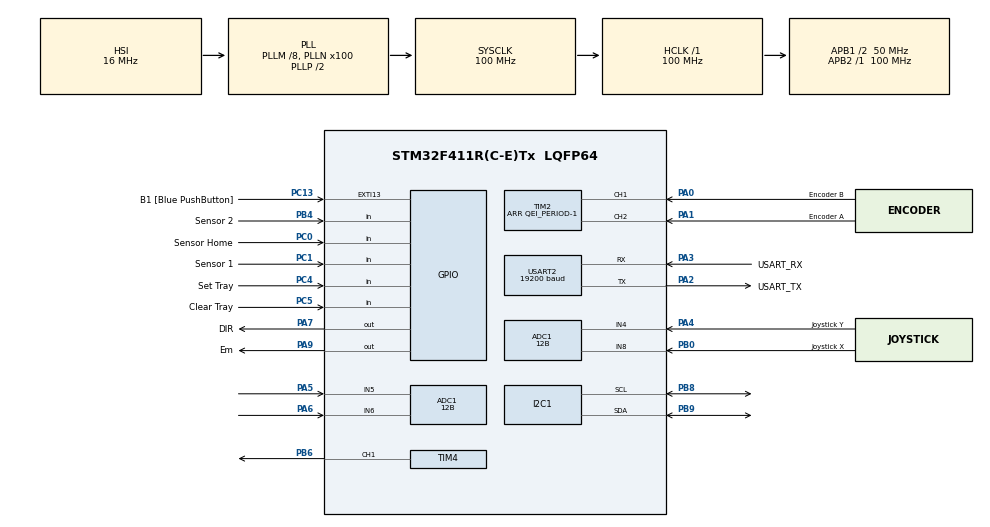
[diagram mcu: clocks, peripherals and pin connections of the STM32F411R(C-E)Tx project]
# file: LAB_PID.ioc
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ADC1.Channel-3\#ChannelRegularConversion=ADC_CHANNEL_8
ADC1.Channel-4\#ChannelRegularConversion=ADC_CHANNEL_4
ADC1.Channel-5\#ChannelRegularConversion=ADC_CHANNEL_6
ADC1.Channel-6\#ChannelRegularConversion=ADC_CHANNEL_5
ADC1.ClockPrescaler=ADC_CLOCK_SYNC_PCLK_DIV4
ADC1.ContinuousConvMode=ENABLE
ADC1.DMAContinuousRequests=ENABLE
ADC1.EOCSelection=ADC_EOC_SEQ_CONV
ADC1.NbrOfConversion=4
ADC1.NbrOfConversionFlag=1
ADC1.Rank-3\#ChannelRegularConversion=1
ADC1.Rank-4\#ChannelRegularConversion=2
ADC1.Rank-5\#ChannelRegularConversion=3
ADC1.Rank-6\#ChannelRegularConversion=4
ADC1.Resolution=ADC_RESOLUTION_12B
ADC1.SamplingTime-3\#ChannelRegularConversion=ADC_SAMPLETIME_56CYCLES
ADC1.SamplingTime-4\#ChannelRegularConversion=ADC_SAMPLETIME_56CYCLES
ADC1.SamplingTime-5\#ChannelRegularConversion=ADC_SAMPLETIME_56CYCLES
ADC1.SamplingTime-6\#ChannelRegularConversion=ADC_SAMPLETIME_56CYCLES
ADC1.master=1
ARM.CMSIS.5.6.0.CMSISJjCORE=true
ARM.CMSIS.5.6.0.CMSISJjDSP=Library
Dma.ADC1.0.Direction=DMA_PERIPH_TO_MEMORY
Dma.ADC1.0.FIFOMode=DMA_FIFOMODE_DISABLE
Dma.ADC1.0.Instance=DMA2_Stream0
Dma.ADC1.0.MemDataAlignment=DMA_MDATAALIGN_WORD
Dma.ADC1.0.MemInc=DMA_MINC_ENABLE
Dma.ADC1.0.Mode=DMA_CIRCULAR
Dma.ADC1.0.PeriphDataAlignment=DMA_PDATAALIGN_WORD
Dma.ADC1.0.PeriphInc=DMA_PINC_DISABLE
Dma.ADC1.0.Priority=DMA_PRIORITY_LOW
Dma.Request0=ADC1
Dma.Request1=USART2_TX
Dma.USART2_TX.1.Direction=DMA_MEMORY_TO_PERIPH
Dma.USART2_TX.1.FIFOMode=DMA_FIFOMODE_DISABLE
Dma.USART2_TX.1.Instance=DMA1_Stream6
Dma.USART2_TX.1.MemDataAlignment=DMA_MDATAALIGN_BYTE
Dma.USART2_TX.1.MemInc=DMA_MINC_ENABLE
Dma.USART2_TX.1.Mode=DMA_NORMAL
Dma.USART2_TX.1.PeriphDataAlignment=DMA_PDATAALIGN_BYTE
Dma.USART2_TX.1.PeriphInc=DMA_PINC_DISABLE
Dma.USART2_TX.1.Priority=DMA_PRIORITY_LOW
Mcu.Family=STM32F4
Mcu.Name=STM32F411R(C-E)Tx
Mcu.Package=LQFP64
Mcu.UserConstants=QEI_PERIOD,40960
NVIC.DMA1_Stream6_IRQn=true\:0\:0\:false\:false\:true\:false\:true\:true
NVIC.DMA2_Stream0_IRQn=true\:0\:0\:false\:false\:true\:false\:true\:true
NVIC.EXTI15_10_IRQn=true\:0\:0\:false\:false\:true\:true\:true\:true
NVIC.PriorityGroup=NVIC_PRIORITYGROUP_0
NVIC.TIM1_TRG_COM_TIM11_IRQn=true\:0\:0\:false\:false\:true\:true\:true\:true
NVIC.TIM3_IRQn=true\:0\:0\:false\:false\:true\:true\:true\:true
NVIC.TIM4_IRQn=true\:0\:0\:false\:false\:true\:true\:true\:true
NVIC.USART2_IRQn=true\:0\:0\:false\:false\:true\:true\:true\:true
PA0-WKUP.GPIO_Label=Encoder B
PA0-WKUP.Signal=S_TIM2_CH1_ETR
PA1.GPIO_Label=Encoder A
PA1.Signal=S_TIM2_CH2
PA13.GPIO_Label=TMS
PA13.Mode=Trace_Asynchronous_SW
PA13.Signal=SYS_JTMS-SWDIO
PA14.GPIO_Label=TCK
PA14.Mode=Trace_Asynchronous_SW
PA14.Signal=SYS_JTCK-SWCLK
PA2.GPIO_Label=USART_TX
PA2.Mode=Asynchronous
PA2.Signal=USART2_TX
PA3.GPIO_Label=USART_RX
PA3.Mode=Asynchronous
PA3.Signal=USART2_RX
PA4.GPIO_Label=Joystick Y
PA4.Signal=ADCx_IN4
PA5.Signal=ADCx_IN5
PA6.Signal=ADCx_IN6
PA7.GPIO_Label=DIR
PA7.Signal=GPIO_Output
PA9.GPIO_Label=Em
PA9.Signal=GPIO_Output
PB0.GPIO_Label=Joystick X
PB0.Signal=ADCx_IN8
PB3.GPIO_Label=SWO
PB3.Mode=Trace_Asynchronous_SW
PB3.Signal=SYS_JTDO-SWO
PB4.GPIO_Label=Sensor 2
PB4.Signal=GPIO_Input
PB6.Signal=S_TIM4_CH1
PB8.Mode=I2C
PB8.Signal=I2C1_SCL
PB9.Mode=I2C
PB9.Signal=I2C1_SDA
PC0.GPIO_Label=Sensor Home
PC0.Signal=GPIO_Input
PC1.GPIO_Label=Sensor 1
PC1.Signal=GPIO_Input
PC13-ANTI_TAMP.GPIO_Label=B1 [Blue PushButton]
PC13-ANTI_TAMP.GPIO_ModeDefaultEXTI=GPIO_MODE_IT_FALLING
PC13-ANTI_TAMP.Signal=GPXTI13
PC14-OSC32_IN.Mode=LSE-External-Oscillator
PC14-OSC32_IN.Signal=RCC_OSC32_IN
PC15-OSC32_OUT.Mode=LSE-External-Oscillator
PC15-OSC32_OUT.Signal=RCC_OSC32_OUT
PC4.GPIO_Label=Set Tray
PC4.Signal=GPIO_Input
PC5.GPIO_Label=Clear Tray
PC5.Signal=GPIO_Input
PH0\ -\ OSC_IN.Mode=HSE-External-Clock-Source
PH0\ -\ OSC_IN.Signal=RCC_OSC_IN
PH1\ -\ OSC_OUT.Mode=HSE-External-Clock-Source
PH1\ -\ OSC_OUT.Signal=RCC_OSC_OUT
ProjectManager.HeapSize=0x200
ProjectManager.StackSize=0x400
ProjectManager.TargetToolchain=STM32CubeIDE
RCC.48MHZClocksFreq_Value=50000000
RCC.AHBFreq_Value=100000000
RCC.APB1CLKDivider=RCC_HCLK_DIV2
RCC.APB1Freq_Value=50000000
RCC.APB1TimFreq_Value=100000000
RCC.APB2Freq_Value=100000000
RCC.APB2TimFreq_Value=100000000
RCC.CortexFreq_Value=100000000
RCC.FLatency-AdvancedSettings=FLASH_LATENCY_3
RCC.HCLKFreq_Value=100000000
RCC.HSE_VALUE=8000000
RCC.HSI_VALUE=16000000
RCC.PLLM=8
RCC.PLLN=100
RCC.SYSCLKFreq_VALUE=100000000
RCC.SYSCLKSource=RCC_SYSCLKSOURCE_PLLCLK
RCC.VCOOutputFreq_Value=200000000
SH.ADCx_IN4.0=ADC1_IN4,IN4
SH.ADCx_IN5.0=ADC1_IN5,IN5
SH.ADCx_IN6.0=ADC1_IN6,IN6
SH.ADCx_IN8.0=ADC1_IN8,IN8
SH.S_TIM2_CH1_ETR.0=TIM2_CH1,Encoder_Interface
SH.S_TIM2_CH2.0=TIM2_CH2,Encoder_Interface
SH.S_TIM4_CH1.0=TIM4_CH1,PWM Generation1 CH1
TIM11.Channel=TIM_CHANNEL_1
TIM11.OCMode_1=TIM_OCMODE_ACTIVE
TIM11.Period=2005
TIM11.Prescaler=99
TIM11.Pulse=1433
TIM2.EncoderMode=TIM_ENCODERMODE_TI12
TIM2.IC1Filter=0
TIM2.IC2Filter=0
TIM2.Period=QEI_PERIOD-1
TIM4.Channel-PWM\ Generation1\ CH1=TIM_CHANNEL_1
TIM4.Period=65535
TIM4.Prescaler=0
TIM5.Prescaler=83
USART2.BaudRate=19200
USART2.Parity=PARITY_EVEN
USART2.VirtualMode=VM_ASYNC
USART2.WordLength=WORDLENGTH_9B
VP_ARM.CMSIS_VS_CMSISJjCORE_5.3.0_5.6.0.Mode=CMSISJjCORE
VP_ARM.CMSIS_VS_CMSISJjDSP_1.7.0_5.6.0.Mode=CMSISJjDSP
VP_TIM11_VS_ClockSourceINT.Mode=Enable_Timer
VP_TIM11_VS_OPM.Mode=OPM_bit
VP_TIM11_VS_no_output1.Mode=Output Compare1 No Output
VP_TIM3_VS_ClockSourceINT.Mode=Internal
VP_TIM4_VS_ClockSourceINT.Mode=Internal
VP_TIM5_VS_ClockSourceINT.Mode=Internal
board=NUCLEO-F411RE

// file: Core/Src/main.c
/* USER CODE BEGIN Header */
/**
 ******************************************************************************
 * @file           : main.c
 * @brief          : Main program body
 ******************************************************************************
 * @attention
 *
 * Copyright (c) 2023 STMicroelectronics.
 * All rights reserved.
 *
 * This software is licensed under terms that can be found in the LICENSE file
 * in the root directory of this software component.
 * If no LICENSE file comes with this software, it is provided AS-IS.
 *
 ******************************************************************************
 */
/* USER CODE END Header */
#include "main.h"

/* USER CODE BEGIN Includes */
#include "math.h"
#include "ModBusRTU.h"
#include "arm_math.h"
#include "main.h"
#include "Qubic.h"
#include "Qubic_emxAPI.h"
#include "Qubic_terminate.h"
#include "Qubic_types.h"
#include "rt_nonfinite.h"

//Chayapol 6411
/* USER CODE END Includes */

/* USER CODE BEGIN PTD */
uint64_t micros();
void flowmodbus();
void velocity();
static double argInit_real_T(void);

/* Function Definitions */
/*
 * Arguments    : void
 * Return Type  : double
 */
static double argInit_real_T(void) {
	return 0.0;
}
/* USER CODE END PTD */

ADC_HandleTypeDef hadc1;
DMA_HandleTypeDef hdma_adc1;

I2C_HandleTypeDef hi2c1;

TIM_HandleTypeDef htim2;
TIM_HandleTypeDef htim3;
TIM_HandleTypeDef htim4;
TIM_HandleTypeDef htim5;
TIM_HandleTypeDef htim11;

UART_HandleTypeDef huart2;
DMA_HandleTypeDef hdma_usart2_tx;

/* USER CODE BEGIN PV */
//I2C
int LOL;
int laser_flag,laser_on_off,laser_power;
int Em_state;
int score;
int homeflag = 0;
float posy_point;
uint64_t timestampI2Cdone;
int set_home = 0;
int I2Cdone;
int done;
int CaseTray = 0;
uint64_t abc = 0;
int plustray = -1;
int gentest = 0;
int choice;
uint8_t data_read;
uint8_t starttray;
GPIO_PinState lastButtonState;
GPIO_PinState buttonState;
float start_p, stop_p, start_v, stop_v, timecycle;
int posx;
int orenationtray = 0;
float point_x[18] = {100,-100,100,-100,100,-100,100,-100,100,-100,100,-100,100,-100,100,-100,100,-100,};
float point_y[18] = { 100, -110, 190, -100, 210, -80, 170, -120, 180, -110, 200,
		-90, 160, -130, 170, -120, 190, -100};
float rectangle[5][2] = { { 0, 0 }, { 60, 0 }, { 60, 50 }, { 0, 50 }, { 0, 0 } };

// Define the rotation matrix
float T_rotation[2][2];

// Declare and initialize the translation array
float translation[2];

float T[3][3];
float points[9][2] = { { 10, 40 }, { 30, 40 }, { 50, 40 }, { 10, 25 },
		{ 30, 25 }, { 50, 25 }, { 10, 10 }, { 30, 10 }, { 50, 10 } };

float homogeneousRectangle[5][3];
float transformedRectangle[5][3];
// Transform the points
float homogeneousPoints[9][3];
float transformedPoints[9][3];

//find theta
float dot_product;
float vectorsize = 3600.0;
float theta;
float in_theta;

float bottom_left_jog[2];
float bottom_right_jog[2];

float rectangle2[5][2] =
		{ { 0, 0 }, { 60, 0 }, { 60, 50 }, { 0, 50 }, { 0, 0 } };

// Define the rotation matrix
float T_rotation2[2][2];

double q_k1_tmp;
// Declare and initialize the translation array
float translation2[2];

float T2[3][3];
float points2[9][2] = { { 10, 40 }, { 30, 40 }, { 50, 40 }, { 10, 25 },
		{ 30, 25 }, { 50, 25 }, { 10, 10 }, { 30, 10 }, { 50, 10 } };

float homogeneousRectangle2[5][3];
float transformedRectangle2[5][3];
// Transform the points
float homogeneousPoints2[9][3];
float transformedPoints2[9][3];

//find theta
float dot_product2;
float vectorsize2 = 3600.0;
float theta2;
float in_theta2;

float bottom_left_jog2[2];
float bottom_right_jog2[2];
//Modbus Protocol
typedef enum {
	Initial, Jogging_Place, Jogging_Pick, Home, Run_PointMode, Run_TrayMode ,EM_Run_PointMode,EM_Run_TrayMode
} state;
state Mobus = 0;
ModbusHandleTypedef hmodbus;
u16u8_t registerFrame[70];
int x_done, y_done;

int SoftReset = 0;
float speed;
float acceleration;
uint32_T path = 0;
uint32_t QEIReadRaw;
uint32_t Button1 = 0;
float positionTraject;
float velocityTraject;

//Jogging
uint32_t Joystick_AND_Sensor[4];
uint32_t Joystick_Control = 1;
uint8_t CheckTray;
int JoystickSpeed = 16383;

typedef struct _QEIStructure {
	uint32_t data[2]; //Position data container
	uint32_t timestamp[2];
	float QEIPosition; //step
	float QEIVelocity;
//step/sec
} QEIStructureTypedef;
QEIStructureTypedef QEIData = { 0 };
QEIStructureTypedef QEIAcc = { 0 };

uint64_t _micros = 0;

emxArray_real_T *q_velocityN;
emxArray_real_T *q_positionN;
emxArray_real_T *q_accN;
int indexposition = 0;
float timestep = 0;

// PID variable

float pu1 = 0;
float pe1 = 0;
float pe2 = 0;
float u;
float p = 0;
float s = 0;
float u2;
float p2 = 0;
float s2 = 0;
float error2 = 0;
float delta_u;
float K_P = 0; //1
float K_I = 0.0500000007; // 0.1
float K_D = 0; //0
float K_Pvelo = 250; // 200
float K_Ivelo = 0.100000001; // 0.5
float K_Dvelo = 0; // 0

float SetVelocity = 500;
float ReadDegree; // Encoder value
float SetDegree; // Set point
float DegreeFeedback; // Feedback position
float error; // error

int testgo = 0;
uint64_t timeI2C = 0;
uint64_t timestamp = 0;
uint64_t timemodbus = 0;
uint64_t timestampTrajact = 0;
uint64_t timestamptray = 2000;
/* USER CODE END PV */

void SystemClock_Config(void);
static void MX_GPIO_Init(void);
static void MX_DMA_Init(void);
static void MX_USART2_UART_Init(void);
static void MX_TIM2_Init(void);
static void MX_TIM5_Init(void);
static void MX_ADC1_Init(void);
static void MX_I2C1_Init(void);
static void MX_TIM11_Init(void);
static void MX_TIM4_Init(void);
static void MX_TIM3_Init(void);
/* USER CODE BEGIN PFP */
void I2C_all();
void I2C_read_status();
void transformRectangleAndPointsPlace();
void transformRectangleAndPointsPick();
float control_interrupt();
float control_velocity();
void accelerate();
void main_Qubic();
void home_yaxis();
/* USER CODE END PFP */

int main(void)
{

  /* MCU Configuration--------------------------------------------------------*/

  /* Reset of all peripherals, Initializes the Flash interface and the Systick. */
  HAL_Init();

  /* Configure the system clock */
  SystemClock_Config();

  /* Initialize all configured peripherals */
  MX_GPIO_Init();
  MX_DMA_Init();
  MX_USART2_UART_Init();
  MX_TIM2_Init();
  MX_TIM5_Init();
  MX_ADC1_Init();
  MX_I2C1_Init();
  MX_TIM11_Init();
  MX_TIM4_Init();
  MX_TIM3_Init();
  /* USER CODE BEGIN 2 */
	start_p = 0;
	stop_p = 15;
	start_v = 0;
	stop_v = 0;
	timecycle = 2;
	transformRectangleAndPointsPlace();
	HAL_ADC_Start_DMA(&hadc1, Joystick_AND_Sensor, 4);
	HAL_TIM_Encoder_Start(&htim2, TIM_CHANNEL_1 | TIM_CHANNEL_2);
	HAL_TIM_PWM_Start(&htim4, TIM_CHANNEL_1);
	HAL_TIM_Base_Start(&htim5);
	hmodbus.huart = &huart2;
	hmodbus.htim = &htim11;
	hmodbus.slaveAddress = 0x15;
	hmodbus.RegisterSize = 70;
	Modbus_init(&hmodbus, registerFrame);

  /* USER CODE END 2 */

  /* Infinite loop */
	while (1) {

    /* USER CODE BEGIN 3 */
		if (starttray == 1) {
			starttray = 0;
			transformRectangleAndPointsPlace();
		}
		Modbus_Protocal_Worker();
		flowmodbus();
		limitsensor();

		if (SoftReset == 1) {
			NVIC_SystemReset();
			SoftReset = 0;
		}
//		static uint32_t timestamp_I2C = 0;
//		      if(HAL_GetTick() >= timestamp_I2C){
//		          I2C_all(&data_read);
//		          timestamp_I2C = HAL_GetTick()+ 20;
//		      }

		if (HAL_GetTick() >= timemodbus) { // heartbeat
			timemodbus = HAL_GetTick() + 0.5;
			registerFrame[0].U16 = 22881;
			registerFrame[17].U16 = (int) (ReadDegree - 350) * 10;
			registerFrame[18].U16 = abs(speed);
			registerFrame[19].U16 = acceleration;
		}
		if (HAL_GetTick() >= timestampTrajact) {
			timestampTrajact = HAL_GetTick() + 10;
			if (indexposition < (timecycle * 100) && path == 1) {
				positionTraject = q_positionN->data[indexposition];
				velocityTraject = q_velocityN->data[indexposition];
				SetDegree = positionTraject;
				SetVelocity = velocityTraject;
				indexposition += 1;
			}
		}
		if(testgo == 1)
		{
			Mobus = Run_TrayMode;
			testgo = 0;
		}
		if (HAL_GetTick() >= timestamp) {
			timestamp = HAL_GetTick() + 5;
			//abc++;
			QEIReadRaw = __HAL_TIM_GET_COUNTER(&htim2); // Read QEI
			ReadDegree = (QEIReadRaw / 8192.0 * 360.0) * 160.0 / 360.0; // pulse to degree
			error = SetDegree - ReadDegree;
			velocity();
			accelerate();
			speed = ((QEIData.QEIVelocity / 8192.0) * 360.0) * 160 / 360;
			acceleration = QEIAcc.QEIVelocity;
			DegreeFeedback = control_interrupt(); // PID function

			if (velocityTraject == 0) {
				s2 = 0;
			}
			if (Joystick_Control == 1) {
				DegreeFeedback = 0;
				s = 0;
				s2 = 0;
				error = 0;
				error2 = 0;
				if (Joystick_AND_Sensor[0] >= 3150) {
					__HAL_TIM_SET_COMPARE(&htim4, TIM_CHANNEL_1, 16383); // 20 %
					HAL_GPIO_WritePin(GPIOA, GPIO_PIN_7, GPIO_PIN_SET);
				} else if (Joystick_AND_Sensor[0] <= 100) {
					__HAL_TIM_SET_COMPARE(&htim4, TIM_CHANNEL_1, 16383); // 20 %
					HAL_GPIO_WritePin(GPIOA, GPIO_PIN_7, GPIO_PIN_RESET);
				} else {
					__HAL_TIM_SET_COMPARE(&htim4, TIM_CHANNEL_1, 0);
					HAL_GPIO_WritePin(GPIOA, GPIO_PIN_7, GPIO_PIN_RESET);
				}
			} else if (Joystick_Control == 0) {
				if (SetDegree < 0) {
					SetDegree = 0; // minimum value
				}
				if (SetDegree > 700) {
					SetDegree = 700; // maximum value
				}

				if (error > 0) { // setpoint > read_encoder

					if (error < 0.2) {
						DegreeFeedback = 0; // Limit Position
						s = 0;
					}
					__HAL_TIM_SET_COMPARE(&htim4, TIM_CHANNEL_1, DegreeFeedback);
					HAL_GPIO_WritePin(GPIOA, GPIO_PIN_7, GPIO_PIN_RESET);
				}
				if (error < 0) { // setpoint < read_encoder
					if (error * -1 < 0.2) {
						DegreeFeedback = 0; // Limit Position
						s = 0;
					}
					__HAL_TIM_SET_COMPARE(&htim4, TIM_CHANNEL_1, DegreeFeedback * -1);
					HAL_GPIO_WritePin(GPIOA, GPIO_PIN_7, GPIO_PIN_SET);
				}
			}
		}
	}
  /* USER CODE END 3 */
}

void SystemClock_Config(void)
{
  RCC_OscInitTypeDef RCC_OscInitStruct = {0};
  RCC_ClkInitTypeDef RCC_ClkInitStruct = {0};

  /** Configure the main internal regulator output voltage
  */
  __HAL_RCC_PWR_CLK_ENABLE();
  __HAL_PWR_VOLTAGESCALING_CONFIG(PWR_REGULATOR_VOLTAGE_SCALE1);

  /** Initializes the RCC Oscillators according to the specified parameters
  * in the RCC_OscInitTypeDef structure.
  */
  RCC_OscInitStruct.OscillatorType = RCC_OSCILLATORTYPE_HSI;
  RCC_OscInitStruct.HSIState = RCC_HSI_ON;
  RCC_OscInitStruct.HSICalibrationValue = RCC_HSICALIBRATION_DEFAULT;
  RCC_OscInitStruct.PLL.PLLState = RCC_PLL_ON;
  RCC_OscInitStruct.PLL.PLLSource = RCC_PLLSOURCE_HSI;
  RCC_OscInitStruct.PLL.PLLM = 8;
  RCC_OscInitStruct.PLL.PLLN = 100;
  RCC_OscInitStruct.PLL.PLLP = RCC_PLLP_DIV2;
  RCC_OscInitStruct.PLL.PLLQ = 4;
  if (HAL_RCC_OscConfig(&RCC_OscInitStruct) != HAL_OK)
  {
    Error_Handler();
  }

  /** Initializes the CPU, AHB and APB buses clocks
  */
  RCC_ClkInitStruct.ClockType = RCC_CLOCKTYPE_HCLK|RCC_CLOCKTYPE_SYSCLK
                              |RCC_CLOCKTYPE_PCLK1|RCC_CLOCKTYPE_PCLK2;
  RCC_ClkInitStruct.SYSCLKSource = RCC_SYSCLKSOURCE_PLLCLK;
  RCC_ClkInitStruct.AHBCLKDivider = RCC_SYSCLK_DIV1;
  RCC_ClkInitStruct.APB1CLKDivider = RCC_HCLK_DIV2;
  RCC_ClkInitStruct.APB2CLKDivider = RCC_HCLK_DIV1;

  if (HAL_RCC_ClockConfig(&RCC_ClkInitStruct, FLASH_LATENCY_3) != HAL_OK)
  {
    Error_Handler();
  }
}

static void MX_ADC1_Init(void)
{

  ADC_ChannelConfTypeDef sConfig = {0};

  /** Configure the global features of the ADC (Clock, Resolution, Data Alignment and number of conversion)
  */
  hadc1.Instance = ADC1;
  hadc1.Init.ClockPrescaler = ADC_CLOCK_SYNC_PCLK_DIV4;
  hadc1.Init.Resolution = ADC_RESOLUTION_12B;
  hadc1.Init.ScanConvMode = ENABLE;
  hadc1.Init.ContinuousConvMode = ENABLE;
  hadc1.Init.DiscontinuousConvMode = DISABLE;
  hadc1.Init.ExternalTrigConvEdge = ADC_EXTERNALTRIGCONVEDGE_NONE;
  hadc1.Init.ExternalTrigConv = ADC_SOFTWARE_START;
  hadc1.Init.DataAlign = ADC_DATAALIGN_RIGHT;
  hadc1.Init.NbrOfConversion = 4;
  hadc1.Init.DMAContinuousRequests = ENABLE;
  hadc1.Init.EOCSelection = ADC_EOC_SEQ_CONV;
  if (HAL_ADC_Init(&hadc1) != HAL_OK)
  {
    Error_Handler();
  }

  /** Configure for the selected ADC regular channel its corresponding rank in the sequencer and its sample time.
  */
  sConfig.Channel = ADC_CHANNEL_8;
  sConfig.Rank = 1;
  sConfig.SamplingTime = ADC_SAMPLETIME_56CYCLES;
  if (HAL_ADC_ConfigChannel(&hadc1, &sConfig) != HAL_OK)
  {
    Error_Handler();
  }

  /** Configure for the selected ADC regular channel its corresponding rank in the sequencer and its sample time.
  */
  sConfig.Channel = ADC_CHANNEL_4;
  sConfig.Rank = 2;
  if (HAL_ADC_ConfigChannel(&hadc1, &sConfig) != HAL_OK)
  {
    Error_Handler();
  }

  /** Configure for the selected ADC regular channel its corresponding rank in the sequencer and its sample time.
  */
  sConfig.Channel = ADC_CHANNEL_6;
  sConfig.Rank = 3;
  if (HAL_ADC_ConfigChannel(&hadc1, &sConfig) != HAL_OK)
  {
    Error_Handler();
  }

  /** Configure for the selected ADC regular channel its corresponding rank in the sequencer and its sample time.
  */
  sConfig.Channel = ADC_CHANNEL_5;
  sConfig.Rank = 4;
  if (HAL_ADC_ConfigChannel(&hadc1, &sConfig) != HAL_OK)
  {
    Error_Handler();
  }

}

static void MX_I2C1_Init(void)
{

  hi2c1.Instance = I2C1;
  hi2c1.Init.ClockSpeed = 100000;
  hi2c1.Init.DutyCycle = I2C_DUTYCYCLE_2;
  hi2c1.Init.OwnAddress1 = 0;
  hi2c1.Init.AddressingMode = I2C_ADDRESSINGMODE_7BIT;
  hi2c1.Init.DualAddressMode = I2C_DUALADDRESS_DISABLE;
  hi2c1.Init.OwnAddress2 = 0;
  hi2c1.Init.GeneralCallMode = I2C_GENERALCALL_DISABLE;
  hi2c1.Init.NoStretchMode = I2C_NOSTRETCH_DISABLE;
  if (HAL_I2C_Init(&hi2c1) != HAL_OK)
  {
    Error_Handler();
  }

}

static void MX_TIM2_Init(void)
{

  TIM_Encoder_InitTypeDef sConfig = {0};
  TIM_MasterConfigTypeDef sMasterConfig = {0};

  htim2.Instance = TIM2;
  htim2.Init.Prescaler = 0;
  htim2.Init.CounterMode = TIM_COUNTERMODE_UP;
  htim2.Init.Period = QEI_PERIOD-1;
  htim2.Init.ClockDivision = TIM_CLOCKDIVISION_DIV1;
  htim2.Init.AutoReloadPreload = TIM_AUTORELOAD_PRELOAD_DISABLE;
  sConfig.EncoderMode = TIM_ENCODERMODE_TI12;
  sConfig.IC1Polarity = TIM_ICPOLARITY_RISING;
  sConfig.IC1Selection = TIM_ICSELECTION_DIRECTTI;
  sConfig.IC1Prescaler = TIM_ICPSC_DIV1;
  sConfig.IC1Filter = 0;
  sConfig.IC2Polarity = TIM_ICPOLARITY_RISING;
  sConfig.IC2Selection = TIM_ICSELECTION_DIRECTTI;
  sConfig.IC2Prescaler = TIM_ICPSC_DIV1;
  sConfig.IC2Filter = 0;
  if (HAL_TIM_Encoder_Init(&htim2, &sConfig) != HAL_OK)
  {
    Error_Handler();
  }
  sMasterConfig.MasterOutputTrigger = TIM_TRGO_RESET;
  sMasterConfig.MasterSlaveMode = TIM_MASTERSLAVEMODE_DISABLE;
  if (HAL_TIMEx_MasterConfigSynchronization(&htim2, &sMasterConfig) != HAL_OK)
  {
    Error_Handler();
  }

}

static void MX_TIM3_Init(void)
{

  TIM_ClockConfigTypeDef sClockSourceConfig = {0};
  TIM_MasterConfigTypeDef sMasterConfig = {0};

  htim3.Instance = TIM3;
  htim3.Init.Prescaler = 0;
  htim3.Init.CounterMode = TIM_COUNTERMODE_UP;
  htim3.Init.Period = 65535;
  htim3.Init.ClockDivision = TIM_CLOCKDIVISION_DIV1;
  htim3.Init.AutoReloadPreload = TIM_AUTORELOAD_PRELOAD_DISABLE;
  if (HAL_TIM_Base_Init(&htim3) != HAL_OK)
  {
    Error_Handler();
  }
  sClockSourceConfig.ClockSource = TIM_CLOCKSOURCE_INTERNAL;
  if (HAL_TIM_ConfigClockSource(&htim3, &sClockSourceConfig) != HAL_OK)
  {
    Error_Handler();
  }
  sMasterConfig.MasterOutputTrigger = TIM_TRGO_RESET;
  sMasterConfig.MasterSlaveMode = TIM_MASTERSLAVEMODE_DISABLE;
  if (HAL_TIMEx_MasterConfigSynchronization(&htim3, &sMasterConfig) != HAL_OK)
  {
    Error_Handler();
  }

}

static void MX_TIM4_Init(void)
{

  TIM_ClockConfigTypeDef sClockSourceConfig = {0};
  TIM_MasterConfigTypeDef sMasterConfig = {0};
  TIM_OC_InitTypeDef sConfigOC = {0};

  htim4.Instance = TIM4;
  htim4.Init.Prescaler = 0;
  htim4.Init.CounterMode = TIM_COUNTERMODE_UP;
  htim4.Init.Period = 65535;
  htim4.Init.ClockDivision = TIM_CLOCKDIVISION_DIV1;
  htim4.Init.AutoReloadPreload = TIM_AUTORELOAD_PRELOAD_DISABLE;
  if (HAL_TIM_Base_Init(&htim4) != HAL_OK)
  {
    Error_Handler();
  }
  sClockSourceConfig.ClockSource = TIM_CLOCKSOURCE_INTERNAL;
  if (HAL_TIM_ConfigClockSource(&htim4, &sClockSourceConfig) != HAL_OK)
  {
    Error_Handler();
  }
  if (HAL_TIM_PWM_Init(&htim4) != HAL_OK)
  {
    Error_Handler();
  }
  sMasterConfig.MasterOutputTrigger = TIM_TRGO_RESET;
  sMasterConfig.MasterSlaveMode = TIM_MASTERSLAVEMODE_DISABLE;
  if (HAL_TIMEx_MasterConfigSynchronization(&htim4, &sMasterConfig) != HAL_OK)
  {
    Error_Handler();
  }
  sConfigOC.OCMode = TIM_OCMODE_PWM1;
  sConfigOC.Pulse = 0;
  sConfigOC.OCPolarity = TIM_OCPOLARITY_HIGH;
  sConfigOC.OCFastMode = TIM_OCFAST_DISABLE;
  if (HAL_TIM_PWM_ConfigChannel(&htim4, &sConfigOC, TIM_CHANNEL_1) != HAL_OK)
  {
    Error_Handler();
  }
  HAL_TIM_MspPostInit(&htim4);

}

static void MX_TIM5_Init(void)
{

  TIM_ClockConfigTypeDef sClockSourceConfig = {0};
  TIM_MasterConfigTypeDef sMasterConfig = {0};

  htim5.Instance = TIM5;
  htim5.Init.Prescaler = 83;
  htim5.Init.CounterMode = TIM_COUNTERMODE_UP;
  htim5.Init.Period = 4294967295;
  htim5.Init.ClockDivision = TIM_CLOCKDIVISION_DIV1;
  htim5.Init.AutoReloadPreload = TIM_AUTORELOAD_PRELOAD_DISABLE;
  if (HAL_TIM_Base_Init(&htim5) != HAL_OK)
  {
    Error_Handler();
  }
  sClockSourceConfig.ClockSource = TIM_CLOCKSOURCE_INTERNAL;
  if (HAL_TIM_ConfigClockSource(&htim5, &sClockSourceConfig) != HAL_OK)
  {
    Error_Handler();
  }
  sMasterConfig.MasterOutputTrigger = TIM_TRGO_RESET;
  sMasterConfig.MasterSlaveMode = TIM_MASTERSLAVEMODE_DISABLE;
  if (HAL_TIMEx_MasterConfigSynchronization(&htim5, &sMasterConfig) != HAL_OK)
  {
    Error_Handler();
  }

}

static void MX_TIM11_Init(void)
{

  TIM_OC_InitTypeDef sConfigOC = {0};

  htim11.Instance = TIM11;
  htim11.Init.Prescaler = 99;
  htim11.Init.CounterMode = TIM_COUNTERMODE_UP;
  htim11.Init.Period = 2005;
  htim11.Init.ClockDivision = TIM_CLOCKDIVISION_DIV1;
  htim11.Init.AutoReloadPreload = TIM_AUTORELOAD_PRELOAD_DISABLE;
  if (HAL_TIM_Base_Init(&htim11) != HAL_OK)
  {
    Error_Handler();
  }
  if (HAL_TIM_OC_Init(&htim11) != HAL_OK)
  {
    Error_Handler();
  }
  if (HAL_TIM_OnePulse_Init(&htim11, TIM_OPMODE_SINGLE) != HAL_OK)
  {
    Error_Handler();
  }
  sConfigOC.OCMode = TIM_OCMODE_ACTIVE;
  sConfigOC.Pulse = 1433;
  sConfigOC.OCPolarity = TIM_OCPOLARITY_HIGH;
  sConfigOC.OCFastMode = TIM_OCFAST_DISABLE;
  if (HAL_TIM_OC_ConfigChannel(&htim11, &sConfigOC, TIM_CHANNEL_1) != HAL_OK)
  {
    Error_Handler();
  }

}

static void MX_USART2_UART_Init(void)
{

  huart2.Instance = USART2;
  huart2.Init.BaudRate = 19200;
  huart2.Init.WordLength = UART_WORDLENGTH_9B;
  huart2.Init.StopBits = UART_STOPBITS_1;
  huart2.Init.Parity = UART_PARITY_EVEN;
  huart2.Init.Mode = UART_MODE_TX_RX;
  huart2.Init.HwFlowCtl = UART_HWCONTROL_NONE;
  huart2.Init.OverSampling = UART_OVERSAMPLING_16;
  if (HAL_UART_Init(&huart2) != HAL_OK)
  {
    Error_Handler();
  }

}

static void MX_DMA_Init(void)
{

  /* DMA controller clock enable */
  __HAL_RCC_DMA2_CLK_ENABLE();
  __HAL_RCC_DMA1_CLK_ENABLE();

  /* DMA interrupt init */
  /* DMA1_Stream6_IRQn interrupt configuration */
  HAL_NVIC_SetPriority(DMA1_Stream6_IRQn, 0, 0);
  HAL_NVIC_EnableIRQ(DMA1_Stream6_IRQn);
  /* DMA2_Stream0_IRQn interrupt configuration */
  HAL_NVIC_SetPriority(DMA2_Stream0_IRQn, 0, 0);
  HAL_NVIC_EnableIRQ(DMA2_Stream0_IRQn);

}

static void MX_GPIO_Init(void)
{
  GPIO_InitTypeDef GPIO_InitStruct = {0};

  /* GPIO Ports Clock Enable */
  __HAL_RCC_GPIOC_CLK_ENABLE();
  __HAL_RCC_GPIOH_CLK_ENABLE();
  __HAL_RCC_GPIOA_CLK_ENABLE();
  __HAL_RCC_GPIOB_CLK_ENABLE();

  /*Configure GPIO pin Output Level */
  HAL_GPIO_WritePin(GPIOA, DIR_Pin|Em_Pin, GPIO_PIN_RESET);

  /*Configure GPIO pin : B1_Pin */
  GPIO_InitStruct.Pin = B1_Pin;
  GPIO_InitStruct.Mode = GPIO_MODE_IT_FALLING;
  GPIO_InitStruct.Pull = GPIO_NOPULL;
  HAL_GPIO_Init(B1_GPIO_Port, &GPIO_InitStruct);

  /*Configure GPIO pins : Sensor_Home_Pin Sensor_1_Pin Set_Tray_Pin Clear_Tray_Pin */
  GPIO_InitStruct.Pin = Sensor_Home_Pin|Sensor_1_Pin|Set_Tray_Pin|Clear_Tray_Pin;
  GPIO_InitStruct.Mode = GPIO_MODE_INPUT;
  GPIO_InitStruct.Pull = GPIO_NOPULL;
  HAL_GPIO_Init(GPIOC, &GPIO_InitStruct);

  /*Configure GPIO pins : DIR_Pin Em_Pin */
  GPIO_InitStruct.Pin = DIR_Pin|Em_Pin;
  GPIO_InitStruct.Mode = GPIO_MODE_OUTPUT_PP;
  GPIO_InitStruct.Pull = GPIO_NOPULL;
  GPIO_InitStruct.Speed = GPIO_SPEED_FREQ_LOW;
  HAL_GPIO_Init(GPIOA, &GPIO_InitStruct);

  /*Configure GPIO pin : Sensor_2_Pin */
  GPIO_InitStruct.Pin = Sensor_2_Pin;
  GPIO_InitStruct.Mode = GPIO_MODE_INPUT;
  GPIO_InitStruct.Pull = GPIO_NOPULL;
  HAL_GPIO_Init(Sensor_2_GPIO_Port, &GPIO_InitStruct);

  /* EXTI interrupt init*/
  HAL_NVIC_SetPriority(EXTI15_10_IRQn, 0, 0);
  HAL_NVIC_EnableIRQ(EXTI15_10_IRQn);

}

/* USER CODE BEGIN 4 */
void runQubicMultipleTimes(int numIterations) {
	double q_k1 = 0.0;
	double q_k2 = 1.0;
	double qdot_k1 = 0.0;
	double qdot_k2 = 0.0;
	double tf = 1.0;

	emxArray_real_T *q_position;
	emxArray_real_T *q_velocity;
	emxArray_real_T *q_acc;

	// Initialize emxArray_real_T instances
	q_position = emxCreate_real_T(1, 1);
	q_velocity = emxCreate_real_T(1, 1);
	q_acc = emxCreate_real_T(1, 1);

	// Run the Qubic function multiple times
	for (int i = 0; i < numIterations; i++) {
		// Call the Qubic function
		Qubic(q_k1, q_k2, qdot_k1, qdot_k2, tf, q_position, q_velocity, q_acc);

		// Access the calculated values
		double *q_position_data = q_position->data;
		double *q_velocity_data = q_velocity->data;
		double *q_acc_data = q_acc->data;

		// Update the input values for the next iteration
		q_k1 = *q_position_data;
		qdot_k1 = *q_velocity_data;

	}

	// Free the memory
	emxDestroyArray_real_T(q_position);
	emxDestroyArray_real_T(q_velocity);
	emxDestroyArray_real_T(q_acc);
}
void I2C_all(uint8_t * Rdata) {
	uint8_t data_1[1];
	uint8_t data_2[2];
	uint8_t data_4[4];

    switch (choice) {
        // I2C_testmode_on
        case 1:
            data_2[0] = 0x01;
            data_2[1] = 0x01;
            HAL_I2C_Master_Transmit(&hi2c1, 0x15 << 1, data_2, 2, 50);
            break;
        // I2C_testmode_off
        case 2:
            data_2[0] = 0x01;
            data_2[1] = 0x00;
            HAL_I2C_Master_Transmit(&hi2c1, 0x15 << 1, data_2, 2, 50);
            break;
        // I2C_soft_reset
        case 3:
            data_4[0] = 0x00;
            data_4[1] = 0xFF;
            data_4[2] = 0x55;
            data_4[3] = 0xAA;
            HAL_I2C_Master_Transmit(&hi2c1, 0x15 << 1, data_4, 4, 50);
            break;
        // I2C_open_emergency
        case 4:
            data_1[0] = 0xF0;
            HAL_I2C_Master_Transmit(&hi2c1, 0x15 << 1, data_1, 1, 50);
            break;
        // I2C_close_emergency
        case 5:
            data_4[0] = 0xE5;
            data_4[1] = 0x7A;
            data_4[2] = 0xFF;
            data_4[3] = 0x81;
            HAL_I2C_Master_Transmit(&hi2c1, 0x15 << 1, data_4, 4, 50);
            break;
        // I2C_gripper_runmode_on
        case 6:
            data_2[0] = 0x10;
            data_2[1] = 0x13;
            HAL_I2C_Master_Transmit(&hi2c1, 0x15 << 1, data_2, 2, 50);
            break;
        // I2C_gripper_runmode_off
        case 7:
            data_2[0] = 0x10;
            data_2[1] = 0x8C;
            HAL_I2C_Master_Transmit(&hi2c1, 0x15 << 1, data_2, 2, 50);
            break;
        // I2C_gripper_pick
        case 8:
            data_2[0] = 0x10;
            data_2[1] = 0x5A;
            HAL_I2C_Master_Transmit(&hi2c1, 0x15 << 1, data_2, 2, 50);
            break;
        // I2C_gripper_place
        case 9:
            data_2[0] = 0x10;
            data_2[1] = 0x69;
            HAL_I2C_Master_Transmit(&hi2c1, 0x15 << 1, data_2, 2, 50);
            break;
        // I2C_read_status
        case 10:
        	HAL_I2C_Master_Receive(&hi2c1, 0x15 << 1, Rdata, 1, 50);
        	break;
    }
}
void limitsensor() {
	if (Joystick_AND_Sensor[2] > 3000)
	{
		LOL++;
		s=0;
		s2=0;
		TIM2->CNT = 0;
	}
	else if (Joystick_AND_Sensor[3] > 3000)
		{
		s=0;
		s2=0;
	}

}
void transformRectangleAndPointsPick() {

	translation[0] = bottom_left_jog[0];
	translation[1] = bottom_left_jog[1];

	bottom_right_jog[0] = bottom_right_jog[0] - translation[0];
	bottom_right_jog[1] = bottom_right_jog[1] - translation[1];

	dot_product = 60 * bottom_right_jog[0] + bottom_right_jog[1] * 0;
	in_theta = dot_product / vectorsize;
	theta = -acos(in_theta);

	T_rotation[0][0] = cos(theta);
	T_rotation[0][1] = -sin(theta);
	T_rotation[1][0] = sin(theta);
	T_rotation[1][1] = cos(theta);

	T[0][0] = T_rotation[0][0];
	T[0][1] = T_rotation[0][1];
	T[0][2] = translation[0];
	T[1][0] = T_rotation[1][0];
	T[1][1] = T_rotation[1][1];
	T[1][2] = translation[1];
	T[2][0] = 0;
	T[2][1] = 0;
	T[2][2] = 1;

	// Transform the rectangle
	for (int i = 0; i < 5; i++) {
		homogeneousRectangle[i][0] = rectangle[i][0];
		homogeneousRectangle[i][1] = rectangle[i][1];
		homogeneousRectangle[i][2] = 1;
	}

	for (int i = 0; i < 5; i++) {
		for (int j = 0; j < 3; j++) {
			transformedRectangle[i][j] = 0;
			for (int k = 0; k < 3; k++) {
				transformedRectangle[i][j] += homogeneousRectangle[i][k]
						* T[k][j];
			}
		}
	}

	// Transform the points
	for (int i = 0; i < 9; i++) {
		homogeneousPoints[i][0] = points[i][0];
		homogeneousPoints[i][1] = points[i][1];
		homogeneousPoints[i][2] = 1;
	}

	for (int i = 0; i < 9; i++) {
		for (int j = 0; j < 3; j++) {
			transformedPoints[i][j] = 0;
			for (int k = 0; k < 3; k++) {

				transformedPoints[i][j] += homogeneousPoints[i][k] * T[k][j];
			}
		}
	}

	// Translation points
	for (int i = 0; i < 9; i++) {
		transformedPoints[i][0] = transformedPoints[i][0] + translation[0];
		transformedPoints[i][1] = transformedPoints[i][1] + translation[1];
		//transformedPoints[i][0] = transformedPoints[i][0] *(-1);

	}

	// Translation rectangle
	for (int i = 0; i < 5; i++) {
		transformedRectangle[i][0] = transformedRectangle[i][0]
				+ +translation[0];
		transformedRectangle[i][1] = transformedRectangle[i][1]
				+ translation[1];
	}

}
void transformRectangleAndPointsPlace() {

	translation2[0] = bottom_left_jog2[0];
	translation2[1] = bottom_left_jog2[1];

	bottom_right_jog2[0] = bottom_right_jog2[0] - translation2[0];
	bottom_right_jog2[1] = bottom_right_jog2[1] - translation2[1];

	dot_product2 = 60 * bottom_right_jog2[0] + bottom_right_jog2[1] * 0;
	in_theta2 = dot_product2 / vectorsize2;
	theta2 = -acos(in_theta2);

	T_rotation2[0][0] = cos(theta2);
	T_rotation2[0][1] = -sin(theta2);
	T_rotation2[1][0] = sin(theta2);
	T_rotation2[1][1] = cos(theta2);

	T2[0][0] = T_rotation2[0][0];
	T2[0][1] = T_rotation2[0][1];
	T2[0][2] = translation2[0];
	T2[1][0] = T_rotation2[1][0];
	T2[1][1] = T_rotation2[1][1];
	T2[1][2] = translation2[1];
	T2[2][0] = 0;
	T2[2][1] = 0;
	T2[2][2] = 1;

	// Transform the rectangle
	for (int i = 0; i < 5; i++) {
		homogeneousRectangle2[i][0] = rectangle2[i][0];
		homogeneousRectangle2[i][1] = rectangle2[i][1];
		homogeneousRectangle2[i][2] = 1;
	}

	for (int i = 0; i < 5; i++) {
		for (int j = 0; j < 3; j++) {
			transformedRectangle2[i][j] = 0;
			for (int k = 0; k < 3; k++) {
				transformedRectangle2[i][j] += homogeneousRectangle2[i][k]
						* T2[k][j];
			}
		}
	}

	// Transform the points
	for (int i = 0; i < 9; i++) {
		homogeneousPoints2[i][0] = points2[i][0];
		homogeneousPoints2[i][1] = points2[i][1];
		homogeneousPoints2[i][2] = 1;
	}

	for (int i = 0; i < 9; i++) {
		for (int j = 0; j < 3; j++) {
			transformedPoints2[i][j] = 0;
			for (int k = 0; k < 3; k++) {

				transformedPoints2[i][j] += homogeneousPoints2[i][k] * T2[k][j];
			}
		}
	}

	// Translation points
	for (int i = 0; i < 9; i++) {
		transformedPoints2[i][0] = transformedPoints2[i][0] + translation2[0];
		transformedPoints2[i][1] = transformedPoints2[i][1] + translation2[1];
		//transformedPoints2[i][0] = transformedPoints2[i][0] *(-1);

	}

	// Translation rectangle
	for (int i = 0; i < 5; i++) {
		transformedRectangle2[i][0] = transformedRectangle2[i][0]
				+ +translation2[0];
		transformedRectangle2[i][1] = transformedRectangle2[i][1]
				+ translation2[1];
	}

}
void home_yaxis(){
	if(homeflag == 0){
		__HAL_TIM_SET_COMPARE(&htim4, TIM_CHANNEL_1, 16383); // 20 %
		registerFrame[16].U16 = 4;
		path = 0;
		HAL_GPIO_WritePin(GPIOA, GPIO_PIN_7, GPIO_PIN_SET);
	}
	if (Joystick_AND_Sensor[2] > 3000)
	{
		registerFrame[16].U16 = 0;
		Joystick_Control = 0;
		homeflag = 1;
		s=0;
		s2=0;
		LOL++;
		TIM2->CNT = 0;
		start_p = 0;
		stop_p = 350;
		start_v = 0; // qk
		stop_v = 0; // q_dotk+1
		timecycle = 1.5;
		main_Qubic();
		path = 1;
		Mobus = Initial;
	}
}
void flowmodbus() {
	switch (Mobus) {
	case Initial:
		homeflag = 0;
		if(registerFrame[2].U16 == 0b0001 && laser_on_off == 0){ // Laser On
			laser_flag = 1;
			if(laser_flag == 1){
			laser_on_off = 1;
			choice = 1;
			I2C_all(&data_read);
			laser_flag = 0;
			registerFrame[2].U16 = 0;
			}
		}
		else if(registerFrame[2].U16 == 0b0001 && laser_on_off == 1){ // Laser Off
			laser_flag = 1;
			if(laser_flag == 1){
			laser_on_off = 0;
			choice = 2;
			I2C_all(&data_read);
			laser_flag = 0;
			registerFrame[2].U16 = 0;
			}
		}
		else if(registerFrame[2].U16 == 0b0010 && laser_power == 0){ // Laser Power
			laser_flag = 1;
			if(laser_flag == 1){
			laser_power = 1;
			choice = 6;
			I2C_all(&data_read);
			laser_flag = 0;
			registerFrame[2].U16 = 0;
			}
		}
		else if(registerFrame[2].U16 == 0b0010 && laser_power == 1){ // Laser Power off
			laser_flag = 1;
			if(laser_flag == 1){
			laser_power = 0;
			choice = 6;
			I2C_all(&data_read);
			laser_flag = 0;
			registerFrame[2].U16 = 0;
			}
		}
		else if(registerFrame[2].U16 == 0b0100){ // Laser Power off
			laser_flag = 1;
			if(laser_flag == 1){
			choice = 8;
			I2C_all(&data_read);
			laser_flag = 0;
			registerFrame[2].U16 = 0;
			}
		}
		else if(registerFrame[2].U16 == 0b1000){ // Laser Power off
			laser_flag = 1;
			if(laser_flag == 1){
			choice = 9;
			I2C_all(&data_read);
			laser_flag = 0;
			registerFrame[2].U16 = 0;
			}
		}
		 if (registerFrame[1].U16 == 0b00010) { // Set Place
			registerFrame[1].U16 = 0; // 0x01 base system reset place tray
			registerFrame[16].U16 = 2; // 0x10 y-axis Set Place
			Joystick_Control = 1;
			choice = 1;
			I2C_all(&data_read);
			Mobus = Jogging_Place;
		} else if (registerFrame[1].U16 == 0b00001) { //Set Pick
			registerFrame[1].U16 = 0; // 0x01 base system reset place tray
			registerFrame[16].U16 = 1; // 0x10 y-axis Set Pick
			Joystick_Control = 1;
			choice = 1;
			I2C_all(&data_read);
			//I2C_all();
			Mobus = Jogging_Pick;
		} else if (registerFrame[1].U16 == 0b10000) { // Run point Mode
			registerFrame[1].U16 = 0; // base system run point mode reset
			registerFrame[16].U16 = 32; // y-axis moving status go point x
			Joystick_Control = 0;
			indexposition = 0;
			if (registerFrame[49].U16 > 60000)
				posy_point = -((UINT16_MAX - registerFrame[49].U16) / 10.0);
			else if (registerFrame[49].U16 <= 3500) {
				posy_point = (registerFrame[49].U16 / 10.0);
			}
			start_p = ReadDegree;
			stop_p = posy_point+350.0;
			start_v = 0; // qk
			stop_v = 0; // q_dotk+1
			timecycle = 1.5;
			main_Qubic();
			path = 1;
			Mobus = Run_PointMode;
		} else if (registerFrame[1].U16 == 0b00100) { // Set Home
			registerFrame[1].U16 = 0;
			homeflag = 0;
			path = 0;
			indexposition = 0;
			Mobus = Home;
		} else if (registerFrame[1].U16 == 0b01000) {
			Joystick_Control = 0;
			plustray = -1;
			CaseTray = 0;
			registerFrame[1].U16 = 0;
			int i, j, k, b;
			k = 0;
			b = 0;
			for (i = 0; i < 9; i++) {
				point_y[k++] = transformedPoints[i][1];
				point_y[k++] = transformedPoints2[i][1];
			}
			for (j = 0; j < 9; j++) {
				point_x[b++] = transformedPoints[j][0];
				point_x[b++] = transformedPoints2[j][0];
			}
			Mobus = Run_TrayMode;
		}
		break;
	case Jogging_Place:
		//y-axis jogging
		if (Joystick_AND_Sensor[1] >= 3150) {
			__HAL_TIM_SET_COMPARE(&htim4, TIM_CHANNEL_1, JoystickSpeed);
			HAL_GPIO_WritePin(GPIOA, GPIO_PIN_7, GPIO_PIN_RESET);
		} else if (Joystick_AND_Sensor[1] <= 100) {
			__HAL_TIM_SET_COMPARE(&htim4, TIM_CHANNEL_1, JoystickSpeed);
			HAL_GPIO_WritePin(GPIOA, GPIO_PIN_7, GPIO_PIN_SET);
		} else {
			__HAL_TIM_SET_COMPARE(&htim4, TIM_CHANNEL_1, 0);
			HAL_GPIO_WritePin(GPIOA, GPIO_PIN_7, GPIO_PIN_RESET);
		}
		//x-axis jogging
		if (Joystick_AND_Sensor[0] >= 3150) {
			registerFrame[64].U16 = 8;
		} else if (Joystick_AND_Sensor[0] <= 100) {
			registerFrame[64].U16 = 4;
		} else {
			registerFrame[64].U16 = 0;
		}

		// Set position
		buttonState = HAL_GPIO_ReadPin(GPIOC, GPIO_PIN_5);
		if (buttonState != lastButtonState) {
			// Button press is valid, perform desired action
			if (CheckTray == 0) {
				if (registerFrame[68].U16 > 60000) {
					posx = registerFrame[68].U16 - UINT16_MAX - 1;
					bottom_left_jog2[0] = (float) (posx) / 10;
				} else {
					posx = registerFrame[68].U16;
					bottom_left_jog2[0] = (float) (posx) / 10;
				} // Calculate Point x-axis
				bottom_left_jog2[1] = (float) (ReadDegree - 350); // Calulate Point y-axis
				registerFrame[35].U16 = (int) posx; // Place Tray Origin x
				registerFrame[36].U16 = (int) (ReadDegree - 350) * 10; // Place Tray Origin y
				CheckTray++;
			} else if (CheckTray == 1) {
				if (registerFrame[68].U16 > 60000) {
					posx = registerFrame[68].U16 - UINT16_MAX - 1;
					bottom_right_jog2[0] = (float) (posx) / 10;
				} else {
					posx = registerFrame[68].U16;
					bottom_right_jog2[0] = (float) (posx) / 10;
				}
				bottom_right_jog2[1] = (float) (ReadDegree - 350); // Calculate Point y-axis
				CheckTray++;
			} else if (CheckTray == 2) {
				transformRectangleAndPointsPlace();
				orenationtray = abs((theta2) * 57.2958 * 100);
				registerFrame[37].U16 = orenationtray;
				registerFrame[16].U16 = 0; //0x10 y-status jogging fisnish reset to 0
				CheckTray = 0;
				choice = 2;
				I2C_all(&data_read);
				Mobus = Initial;
			}
		}

		// Update the previous state
		lastButtonState = buttonState;
		break;
	case Jogging_Pick:
		//y-axis jogging
		if (Joystick_AND_Sensor[1] >= 3150) {
			__HAL_TIM_SET_COMPARE(&htim4, TIM_CHANNEL_1, JoystickSpeed);
			HAL_GPIO_WritePin(GPIOA, GPIO_PIN_7, GPIO_PIN_RESET);
		} else if (Joystick_AND_Sensor[1] <= 100) {
			__HAL_TIM_SET_COMPARE(&htim4, TIM_CHANNEL_1, JoystickSpeed);
			HAL_GPIO_WritePin(GPIOA, GPIO_PIN_7, GPIO_PIN_SET);
		} else {
			__HAL_TIM_SET_COMPARE(&htim4, TIM_CHANNEL_1, 0);
			HAL_GPIO_WritePin(GPIOA, GPIO_PIN_7, GPIO_PIN_RESET);
		}
		//x-axis jogging
		if (Joystick_AND_Sensor[0] >= 3150) {
			registerFrame[64].U16 = 8;
		} else if (Joystick_AND_Sensor[0] <= 100) {
			registerFrame[64].U16 = 4;
		} else {
			registerFrame[64].U16 = 0;
		}

		// Set position
		buttonState = HAL_GPIO_ReadPin(GPIOC, GPIO_PIN_5);
		if (buttonState != lastButtonState) {
			// Button press is valid, perform desired action
			if (CheckTray == 0) {
				if (registerFrame[68].U16 > 60000) {
					posx = registerFrame[68].U16 - UINT16_MAX - 1;
					bottom_left_jog[0] = (float) (posx) / 10;
				} else {
					posx = registerFrame[68].U16;
					bottom_left_jog[0] = (float) (posx) / 10;
				}
				bottom_left_jog[1] = ((float) ReadDegree - 350); // Calulate Point y-axis
				registerFrame[32].U16 = (int) posx; // Place Tray Origin x
				registerFrame[33].U16 = (int) (ReadDegree - 350) * 10; // Place Tray Origin y
				CheckTray++;
			} else if (CheckTray == 1) {
				if (registerFrame[68].U16 > 60000) {
					posx = registerFrame[68].U16 - UINT16_MAX - 1;
					bottom_right_jog[0] = (float) (posx) / 10;
				} else {
					posx = registerFrame[68].U16;
					bottom_right_jog[0] = (float) (posx) / 10;
				}
				bottom_right_jog[1] = (float) (ReadDegree - (float) 350); // Calculate Point y-axis
				CheckTray++;
			} else if (CheckTray == 2) {
				transformRectangleAndPointsPick();
				orenationtray = abs((theta) * 57.2958 * 100);
				registerFrame[34].U16 = orenationtray;
				registerFrame[16].U16 = 0; // 0x10 y-status jogging finish reset to 0
				CheckTray = 0;
				choice = 2;
				I2C_all(&data_read);
				Mobus = Initial;
			}
		}
		// Update the previous state
		lastButtonState = buttonState;
		break;
	case Home:
		// x axis
		registerFrame[64].U16 = 1; // 0x40 Moving Status x-axis - Home
		home_yaxis();
		// y axis
		break;
	case Run_PointMode:
		// x axis
		registerFrame[65].U16 = registerFrame[48].U16; // position Tray pick/place
		registerFrame[66].U16 = 3000; // speed x-axis 300mm
		registerFrame[67].U16 = 1; // Acc time 1mms
		registerFrame[64].U16 = 2; //0x40 Moving Status x-axis - run mode
		path = 1;
		// y axis
		if(HAL_GPIO_ReadPin(GPIOA, GPIO_PIN_9) == 1){ // if Emergency Point mode on
			choice = 4;
			I2C_all(&data_read);
			path = 0;
			s = 0;
			s2 = 0;
			Mobus = EM_Run_PointMode;
		}
		if(abs(error) < 0.2 && indexposition == (timecycle*100)){
				Mobus = Initial;
				registerFrame[16].U16 = 0;
		}
		break;
	case EM_Run_PointMode:

		switch (Em_state) {
			case 0:
				path = 0;
				s = 0;
				s2 = 0;
				if(HAL_GPIO_ReadPin(GPIOA, GPIO_PIN_9) == 0){ // if Emergency Tray mode On
					Em_state = 1;
					I2Cdone = 0;
				}
				break;
			case 1:
				if(I2Cdone == 0){
					timestampI2Cdone = HAL_GetTick() + 500;
					I2Cdone = 1;
				}
				if(HAL_GetTick() >= timestampI2Cdone){
					choice = 5;
					I2C_all(&data_read);
					if(I2Cdone == 1){
						I2Cdone = 0;
						Em_state = 0;
						Mobus = Run_PointMode;
					}
				}
				break;
		}
		break;
	case EM_Run_TrayMode:
		switch (Em_state) {
			case 0:
				if(HAL_GPIO_ReadPin(GPIOA, GPIO_PIN_9) == 0){ // if Emergency Tray mode On
					CaseTray = 0;
					plustray = -1;
					path = 0;
					data_read = 0;
					done = 0;
					I2Cdone = 0;
					Em_state = 1;
				}
				break;
			case 1:
				if(I2Cdone == 0){
					timestampI2Cdone = HAL_GetTick() + 500;
					I2Cdone = 1;
				}
				if(HAL_GetTick() >= timestampI2Cdone){
					choice = 5;
					I2C_all(&data_read);
					if(I2Cdone == 1){
						registerFrame[16].U16 = 0;
						I2Cdone = 0;
						Em_state = 0;
						Mobus = Initial;;
					}
				}
				break;
		}
		break;
	case Run_TrayMode:
		if(HAL_GPIO_ReadPin(GPIOA, GPIO_PIN_9) == 1){ // if Emergency Tray mode On
			CaseTray = 0;
			plustray = -1;
			path = 0;
			data_read = 0;
			done = 0;
			I2Cdone = 0;
			choice = 4;
			I2C_all(&data_read);
			Mobus = EM_Run_TrayMode;
		}
		switch (CaseTray) {
			case 0:
				path = 1;
				indexposition = 0;
				choice = 6;
				I2C_all(&data_read);
				// y axis
				if(plustray == -1){ // home
					// y-axis
					start_p = 0+350.0;
					stop_p = point_y[plustray+1]+350.0;
					start_v = 0; // qk
					stop_v = 0; // q_dotk+1
					timecycle = 1.5;
					main_Qubic();
					// x axis
					if(registerFrame[64].U16 == 0){
					 registerFrame[65].U16 = (int16_t)(point_x[plustray+1]*10); // position Tray pick/place
					 registerFrame[66].U16 = 3000; // speed x-axis 300mm
					 registerFrame[67].U16 = 1; // Acc time 1mms
					 registerFrame[64].U16 = 2; //0x40 Moving Status x-axis - run mode
					}
					 CaseTray = 1;
				}
				else{
				start_p = point_y[plustray]+350 ;
				stop_p = point_y[plustray + 1]+350 ;
				start_v = 0; // qk
				stop_v = 0; // q_dotk+1
				timecycle = 1.5;
				main_Qubic();
				//Qubic(start_p, stop_p, start_v, stop_v, timecycle, 0, 0, 0);

				 // x axis
				 registerFrame[65].U16 = (int16_t)point_x[plustray+1]*10; // position Tray pick/place
				 registerFrame[66].U16 = 3000; // speed x-axis 300mm
				 registerFrame[67].U16 = 1; // Acc time 1mms
				 registerFrame[64].U16 = 2; //0x40 Moving Status x-axis - run mode
				 CaseTray = 1;
				}
				break;
			case 1:
				if(done == 0){
				timestamptray = HAL_GetTick() + 2000;
				done = 1;
				}
				if(HAL_GetTick() >= timestamptray){
					CaseTray = 2;
					done = 0;
				}
			break;
			case 2:
				 if(plustray == 17){
					registerFrame[16].U16 = 4;
					plustray = -1;
					CaseTray = 0;
					data_read = 0;
					choice = 7;
					indexposition = 0;
					path = 0;
					I2C_all(&data_read);
					Mobus = Home;
					}
				 else{
				if(indexposition >= (timecycle*100)){
						s2 = 0;
						indexposition = 0;
						path = 0;
					}
				 if(abs(error) < 0.2){
					 if((plustray%2) != 0 || plustray == -1){ // Pick Case
						registerFrame[16].U16 = 16; //Status Picking
						s2 = 0;
						s = 0;
						 choice = 8;
						 I2C_all(&data_read);
						 CaseTray = 3;
					 }
					 if(plustray%2 == 0){ // Place Case
						registerFrame[16].U16 = 8; //Status Placing
						s2 = 0;
						s = 0;
						 choice = 9;
						 I2C_all(&data_read);
						 CaseTray = 3;
					 	 }
				 	 }
				 }
				break;
			case 3:
				if(I2Cdone == 0){
					timestampI2Cdone = HAL_GetTick() + 2500;
				I2Cdone = 1;
				}
				if(HAL_GetTick() >= timestampI2Cdone){
					choice = 10;
					I2C_all(&data_read);
					CaseTray = 4;
					I2Cdone = 0;
				}
				break;
			case 4: // Pick Case
				if(data_read == 7 || data_read == 4){
					if(plustray < 17 || plustray == -1){
					choice = 0;
					plustray++;
					CaseTray = 0;
					done = 0;
					}
				}
				break;
		}
		break;
	}
}
float control_interrupt() {
//loop 1
	error = SetDegree - ReadDegree;
	s = s + error;
	u = K_P * error + K_I * s + K_D * (error - p);
	p = error;
// loop 2
	error2 = (u + SetVelocity) - speed;
	s2 = s2 + error2;
	u2 = K_Pvelo * error2 + K_Ivelo * s2 + K_Dvelo * (error2 - p2);
	if (u2 > 65534)
		u2 = 65535;
	if (u2 < -65534)
		u2 = -65535;
	p2 = error2;
	return u2;
}
float control_velocity() {
	error2 = (control_interrupt() + SetVelocity) - speed;
	if (abs(error2) <= 0.5)
		s2 = 0;
	s2 = s2 + error2;
	u2 = K_P * error2 + K_I * s2 + K_D * (error2 - p2);
	if (u2 > 65535)
		u2 = 65535;
	if (u2 < -65535)
		u2 = -65535;
	p2 = error2;
	return u2;
}
void velocity() {
	QEIData.data[0] = __HAL_TIM_GET_COUNTER(&htim2);
	QEIData.timestamp[0] = micros();

	int32_t diffposition = QEIData.data[0] - QEIData.data[1];
	float difftime = QEIData.timestamp[0] - QEIData.timestamp[1];

	if (ReadDegree > 750) {
		SetDegree = 0;
	}
	if (diffposition < -(QEI_PERIOD >> 1)) {
		diffposition += QEI_PERIOD;
	}

	QEIData.QEIPosition = __HAL_TIM_GET_COUNTER(&htim2) % 8192;
	QEIData.QEIVelocity = (diffposition * 1000000) / difftime;

	QEIData.data[1] = QEIData.data[0];
	QEIData.timestamp[1] = QEIData.timestamp[0];

}
void accelerate() {
	QEIAcc.data[0] = speed;
	QEIAcc.timestamp[0] = micros();

	int32_t diffposition = QEIAcc.data[0] - QEIAcc.data[1];
	float difftime = QEIAcc.timestamp[0] - QEIAcc.timestamp[1];
	difftime = difftime / 1000000;

	QEIAcc.QEIVelocity = (diffposition / difftime);

	QEIAcc.data[1] = QEIAcc.data[0];
	QEIAcc.timestamp[1] = QEIAcc.timestamp[0];
}
void HAL_TIM_PeriodElapsedCallback(TIM_HandleTypeDef *htim) {
	if (htim == &htim5) {
		_micros += UINT32_MAX;
	}
}
uint64_t micros() {
	return __HAL_TIM_GET_COUNTER(&htim5) + _micros;
}
void main_Qubic() {
	emxArray_real_T *q_acc;
	emxArray_real_T *q_position;
	emxArray_real_T *q_velocity;
	/* Initialize function 'Qubic' input arguments. */
	q_k1_tmp = argInit_real_T();
	/* Call the entry-point 'Qubic'. */
	emxInitArray_real_T(&q_position, 2);
	emxInitArray_real_T(&q_velocity, 2);
	emxInitArray_real_T(&q_acc, 2);
	Qubic(start_p, stop_p, start_v, stop_v, timecycle, q_position, q_velocity,
			q_acc);
	q_positionN = q_position;
	q_velocityN = q_velocity;
	q_accN = q_acc;
	emxDestroyArray_real_T(q_position);
	emxDestroyArray_real_T(q_velocity);
	emxDestroyArray_real_T(q_acc);
}

/* USER CODE END 4 */

void Error_Handler(void)
{
	__disable_irq();
	while (1) {
	}
}
